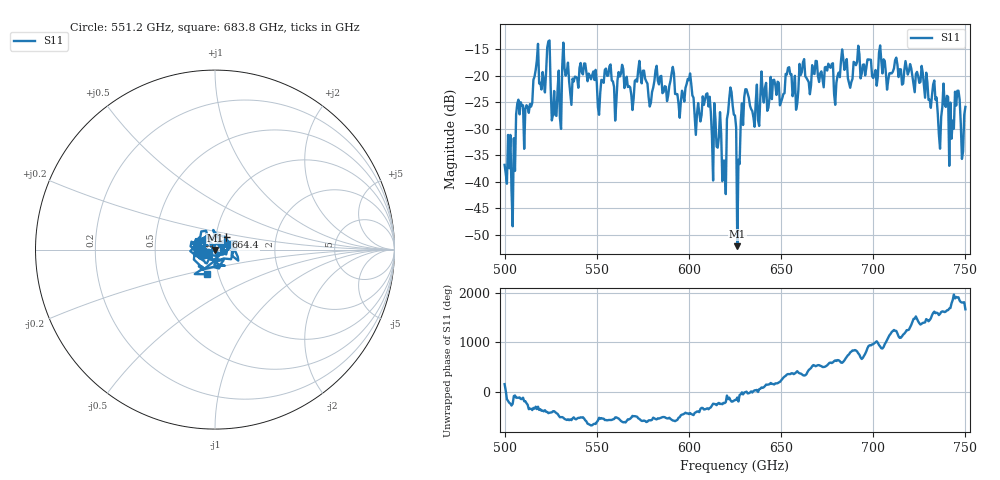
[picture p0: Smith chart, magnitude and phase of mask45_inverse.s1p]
!Created with skrf (http://scikit-rf.org).
# GHz S MA R 50.0
!freq magS11 angS11
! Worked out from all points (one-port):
!   401 points, 500 GHz to 750 GHz, reference 50 ohm
!   lowest |S11| = -52.1 dB at 626.2 GHz (marker M1), VSWR 1.00, Z = 49.9 - j0.236 ohm
!   |S11| at or under -10 dB: start of sweep to end of sweep
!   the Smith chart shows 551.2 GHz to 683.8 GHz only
!   S11 on the Smith chart (normalised r, x): 551.2 GHz: 0.93, -0.04; 664.4 GHz: 1.12, +0.15; 683.8 GHz: 0.88, -0.25
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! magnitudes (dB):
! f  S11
! 500 GHz  -36.8
! 504.4 GHz  -48.4
! 507.5 GHz  -24.5
! 511.9 GHz  -25.6
! 516.9 GHz  -18.9
! 523.8 GHz  -13.5
! 526.9 GHz  -22.9
! 531.2 GHz  -18.3
! 542.5 GHz  -19.7
! 551.2 GHz  -27.4
! 562.5 GHz  -20.2
! 593.8 GHz  -23.5
! 610 GHz  -23.3
! 618.8 GHz  -36.0
! 623.1 GHz  -23.1
! 625 GHz  -27.5
! 626.2 GHz  -52.1
! 631.2 GHz  -22.6
! 656.2 GHz  -23.9
! 664.4 GHz  -20.8
! 683.8 GHz  -16.8
! 687.5 GHz  -22.3
! 718.8 GHz  -19.8
! 736.2 GHz  -33.8
! 739.4 GHz  -25.9
! 742.5 GHz  -31.9
! 745.6 GHz  -22.8
! 750 GHz  -25.9
